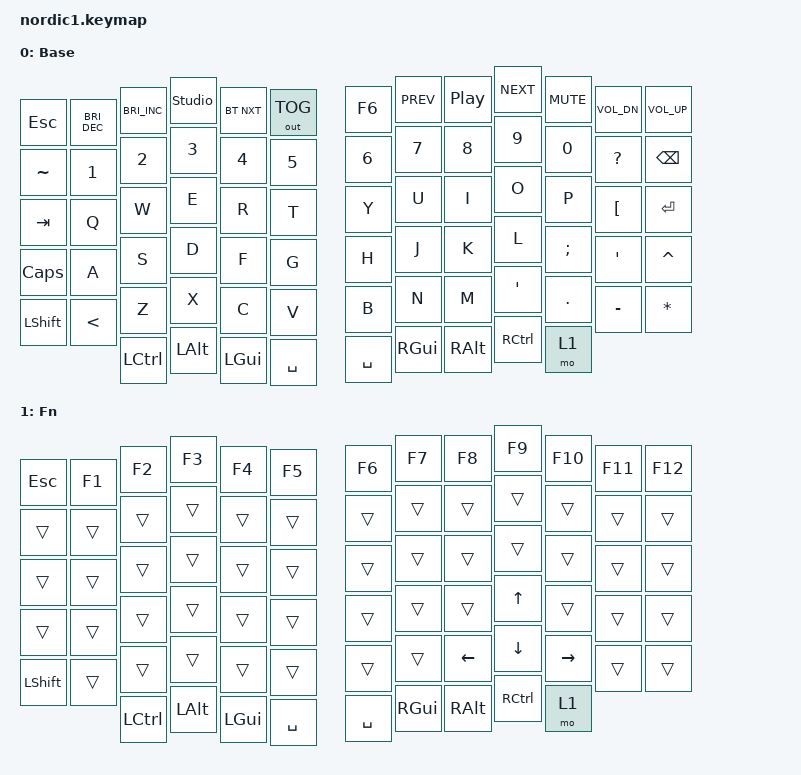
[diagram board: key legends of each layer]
// This file was generated from a template. Edit it to match your keyboard.
// See https://zmk.dev/docs/development/hardware-integration/new-shield for more instructions.

#include <behaviors.dtsi>
#include <dt-bindings/zmk/keys.h>
#include <dt-bindings/zmk/bt.h>
#include <dt-bindings/zmk/outputs.h>

/ {
    // Define a default keymap here.
    // See https://zmk.dev/docs/development/hardware-integration/new-shield#default-keymap.
    keymap {
        compatible = "zmk,keymap";

        default_layer {
            display-name = "Base";

            bindings = <
                &kp ESC   &kp C_BRIGHTNESS_DEC &kp C_BRIGHTNESS_INC &studio_unlock &bt BT_NXT &out OUT_TOG     &kp F6    &kp C_PREV &kp C_PLAY_PAUSE &kp C_NEXT &kp C_MUTE &kp C_VOL_DN &kp C_VOL_UP
                &kp TILDE &kp N1               &kp N2               &kp N3         &kp N4     &kp N5           &kp N6    &kp N7     &kp N8           &kp N9     &kp N0     &kp QMARK    &kp BSPC
                &kp TAB   &kp Q                &kp W                &kp E          &kp R      &kp T            &kp Y     &kp U      &kp I            &kp O      &kp P      &kp LBKT     &kp ENTER
                &kp CAPS  &kp A                &kp S                &kp D          &kp F      &kp G            &kp H     &kp J      &kp K            &kp L      &kp SEMI    &kp SQT      &kp CARET
                &kp LSHFT &kp LT               &kp Z                &kp X          &kp C      &kp V            &kp B     &kp N      &kp M            &kp APOS   &kp PERIOD &kp MINUS    &kp ASTRK
                                               &kp LCTRL            &kp LALT       &kp LGUI   &kp SPACE        &kp SPACE &kp RGUI   &kp RALT         &kp RCTRL  &mo 1
            >;
        };

        function_layer {
            display-name = "Fn";

            bindings = <
                &kp ESC   &kp F1 &kp F2    &kp F3   &kp F4   &kp F5        &kp F6    &kp F7   &kp F8   &kp F9    &kp F10   &kp F11  &kp F12
                &trans    &trans &trans    &trans   &trans   &trans        &trans    &trans   &trans   &trans    &trans    &trans   &trans
                &trans    &trans &trans    &trans   &trans   &trans        &trans    &trans   &trans   &trans    &trans    &trans   &trans
                &trans    &trans &trans    &trans   &trans   &trans        &trans    &trans   &trans   &kp UP    &trans    &trans   &trans
                &kp LSHFT &trans &trans    &trans   &trans   &trans        &trans    &trans   &kp LEFT &kp DOWN  &kp RIGHT &trans   &trans
                                 &kp LCTRL &kp LALT &kp LGUI &kp SPACE     &kp SPACE &kp RGUI &kp RALT &kp RCTRL &mo 1
            >;
        };

        extra1 {
            status = "reserved";
        };

        extra2 {
            status = "reserved";
        };
    };
};
